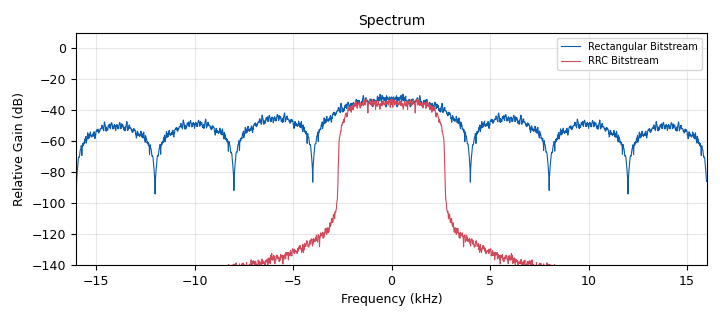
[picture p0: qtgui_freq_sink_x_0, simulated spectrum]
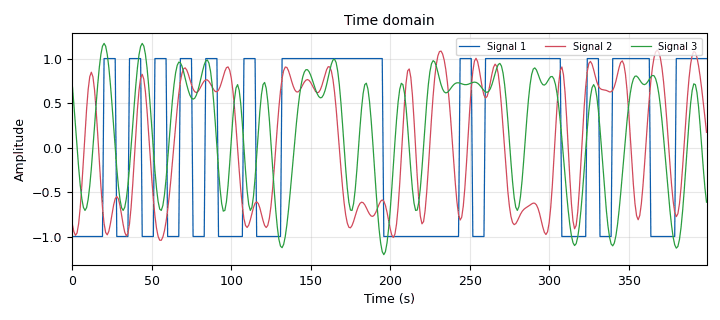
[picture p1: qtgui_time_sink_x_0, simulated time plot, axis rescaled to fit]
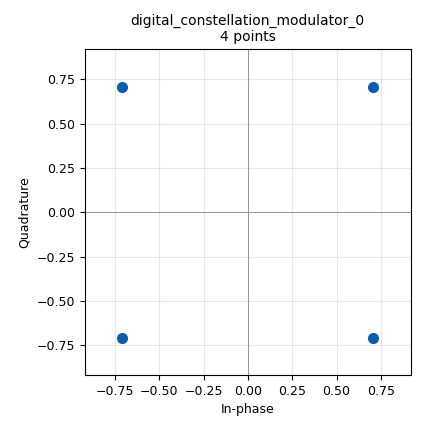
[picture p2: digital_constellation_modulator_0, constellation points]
options:
  parameters:
    generate_options: qt_gui
    id: QPSK
    output_language: python
    title: QPSKsender(ExcessBandwidth)
  states: {}

blocks:
- name: bitDelay
  id: variable_qtgui_range
  parameters:
    gui_hint: tabi
    label: Bit Delay
    start: '0'
    step: '1'
    stop: '3000'
    value: '1756'
  states: {}
- name: bpsk
  id: variable_constellation
  parameters:
    precision: '8'
    type: bpsk
  states: {}
- name: constelQPSK
  id: variable_constellation_rect
  parameters:
    const_points: '[-1-1j, -1+1j, 1+1j, 1-1j]'
    imag_sect: '2'
    real_sect: '2'
    rot_sym: '4'
    sym_map: '[0, 1, 3, 2]'
    w_imag_sect: '1'
    w_real_sect: '1'
  states: {}
- name: rrcDelay
  id: variable_qtgui_range
  parameters:
    gui_hint: tabi
    label: RRC Delay
    start: '0'
    step: '1'
    stop: '3000'
    value: '1408'
  states: {}
- name: samp_rate
  id: variable
  parameters:
    value: '32000'
  states: {}
- name: analog_random_uniform_source_x_0
  id: analog_random_uniform_source_x
  parameters:
    maximum: '255'
    minimum: '0'
    seed: '0'
    type: byte
  states: {}
- name: blocks_add_const_vxx_0
  id: blocks_add_const_vxx
  parameters:
    const: '-0.5'
    type: float
  states: {}
- name: blocks_complex_to_real_0
  id: blocks_complex_to_real
  parameters: {}
  states: {}
- name: blocks_delay_0
  id: blocks_delay
  parameters:
    delay: bitDelay
    type: float
  states: {}
- name: blocks_delay_1
  id: blocks_delay
  parameters:
    delay: bitDelay
    type: float
  states: {}
- name: blocks_multiply_const_vxx_0
  id: blocks_multiply_const_vxx
  parameters:
    const: '2'
    type: float
  states: {}
- name: blocks_repeat_0
  id: blocks_repeat
  parameters:
    interp: '8'
    type: byte
  states: {}
- name: blocks_throttle2_0
  id: blocks_throttle2
  parameters:
    samples_per_second: samp_rate
    type: byte
  states: {}
- name: blocks_uchar_to_float_0
  id: blocks_uchar_to_float
  parameters: {}
  states: {}
- name: blocks_unpack_k_bits_bb_0
  id: blocks_unpack_k_bits_bb
  parameters:
    k: '8'
  states: {}
- name: digital_constellation_modulator_0
  id: digital_constellation_modulator
  parameters:
    constellation: constelQPSK
    differential: 'True'
    excess_bw: '0.35'
    samples_per_symbol: '8'
  states: {}
- name: filter_fft_rrc_filter_0
  id: filter_fft_rrc_filter
  parameters:
    alpha: '0.35'
    decim: '1'
    gain: '1'
    ntaps: 11*samp_rate
    samp_rate: samp_rate
    sym_rate: '4000'
    type: fff
  states: {}
- name: qtgui_freq_sink_x_0
  id: qtgui_freq_sink_x
  parameters:
    average: '0.05'
    bw: samp_rate
    fc: '0'
    fftsize: '2048'
    gui_hint: tabi@0
    label1: '''Rectangular Bitstream'''
    label2: '''RRC Bitstream'''
    name: '"Spectrum"'
    nconnections: '2'
    type: float
  states: {}
- name: qtgui_time_sink_x_0
  id: qtgui_time_sink_x
  parameters:
    color1: dark blue
    gui_hint: tabi@1
    name: '"Time domain"'
    nconnections: '3'
    size: '400'
    srate: '1'
    type: float
  states: {}
- name: tabi
  id: qtgui_tab_widget
  parameters:
    label0: Spectrum
    label1: Time Domain
    num_tabs: '2'
  states: {}

connections:
- [analog_random_uniform_source_x_0, '0', blocks_throttle2_0, '0']
- [blocks_add_const_vxx_0, '0', blocks_multiply_const_vxx_0, '0']
- [blocks_complex_to_real_0, '0', blocks_delay_0, '0']
- [blocks_complex_to_real_0, '0', filter_fft_rrc_filter_0, '0']
- [blocks_delay_0, '0', qtgui_freq_sink_x_0, '1']
- [blocks_delay_0, '0', qtgui_time_sink_x_0, '1']
- [blocks_delay_1, '0', blocks_add_const_vxx_0, '0']
- [blocks_multiply_const_vxx_0, '0', qtgui_freq_sink_x_0, '0']
- [blocks_multiply_const_vxx_0, '0', qtgui_time_sink_x_0, '0']
- [blocks_repeat_0, '0', blocks_uchar_to_float_0, '0']
- [blocks_throttle2_0, '0', blocks_unpack_k_bits_bb_0, '0']
- [blocks_throttle2_0, '0', digital_constellation_modulator_0, '0']
- [blocks_uchar_to_float_0, '0', blocks_delay_1, '0']
- [blocks_unpack_k_bits_bb_0, '0', blocks_repeat_0, '0']
- [digital_constellation_modulator_0, '0', blocks_complex_to_real_0, '0']
- [filter_fft_rrc_filter_0, '0', qtgui_time_sink_x_0, '2']

metadata:
  file_format: 1
  grc_version: 3.10.12.0
